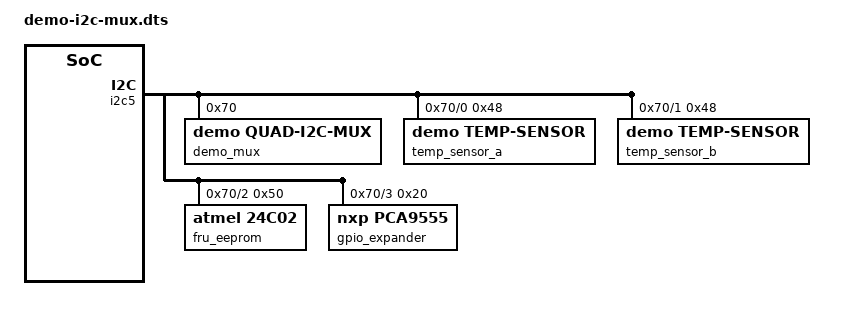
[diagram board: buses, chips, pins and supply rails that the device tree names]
/dts-v1/;
/plugin/;

/*
 * Educational fragment for the fictional demo,quad-i2c-mux.
 * Replace controller labels, compatible strings, and endpoints for the board.
 */

&i2c5 {
	status = "okay";

	demo_mux: i2c-mux@70 {
		compatible = "demo,quad-i2c-mux";
		reg = <0x70>;
		#address-cells = <1>;
		#size-cells = <0>;
		i2c-mux-idle-disconnect;

		i2c@0 {
			reg = <0>;
			#address-cells = <1>;
			#size-cells = <0>;

			temp_sensor_a: sensor@48 {
				compatible = "demo,temp-sensor";
				reg = <0x48>;
			};
		};

		i2c@1 {
			reg = <1>;
			#address-cells = <1>;
			#size-cells = <0>;

			temp_sensor_b: sensor@48 {
				compatible = "demo,temp-sensor";
				reg = <0x48>;
			};
		};

		i2c@2 {
			reg = <2>;
			#address-cells = <1>;
			#size-cells = <0>;

			fru_eeprom: eeprom@50 {
				compatible = "atmel,24c02";
				reg = <0x50>;
				pagesize = <8>;
			};
		};

		i2c@3 {
			reg = <3>;
			#address-cells = <1>;
			#size-cells = <0>;

			gpio_expander: gpio@20 {
				compatible = "nxp,pca9555";
				reg = <0x20>;
				gpio-controller;
				#gpio-cells = <2>;
			};
		};
	};
};

